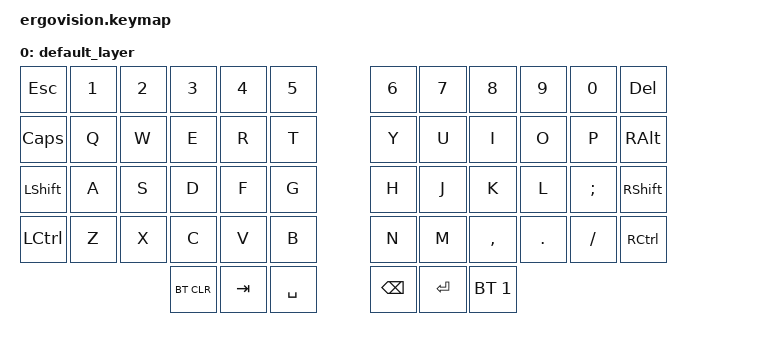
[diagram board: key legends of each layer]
/*
 * Copyright (c) 2020 ZMK Contributors
 *
 * SPDX-License-Identifier: MIT
 */

#include <behaviors.dtsi>
#include <dt-bindings/zmk/keys.h>
#include <dt-bindings/zmk/bt.h>

#define OUTPUT_SOURCE_LAYER_STATE_CHANGE        1
#define OUTPUT_SOURCE_POSITION_STATE_CHANGE     2
#define OUTPUT_SOURCE_KEYCODE_STATE_CHANGE      3
#define OUTPUT_SOURCE_MOUSE_BUTTON_STATE_CHANGE 4
#define OUTPUT_SOURCE_MOUSE_WHEEL_STATE_CHANGE  5
#define OUTPUT_SOURCE_TRANSPORT                 6

/ {
    keymap {
        compatible = "zmk,keymap";

        default_layer {
            bindings = <
                &kp ESC      &kp N1     &kp N2     &kp N3     &kp N4     &kp N5                   &kp N6     &kp N7     &kp N8     &kp N9     &kp N0     &kp DELETE
                &kp CAPSLOCK &kp Q      &kp W      &kp E      &kp R      &kp T                    &kp Y      &kp U      &kp I      &kp O      &kp P      &kp RALT
                &kp LSHIFT   &kp A      &kp S      &kp D      &kp F      &kp G                    &kp H      &kp J      &kp K      &kp L      &kp SEMI   &kp RSHIFT
                &kp LCTRL    &kp Z      &kp X      &kp C      &kp V      &kp B                    &kp N      &kp M      &kp COMMA  &kp DOT    &kp SLASH  &kp RCTRL
                                                   &bt BT_CLR &kp TAB    &kp SPACE                &kp BKSP   &kp ENTER  &bt BT_SEL 1
            >;
        };
    };
};
